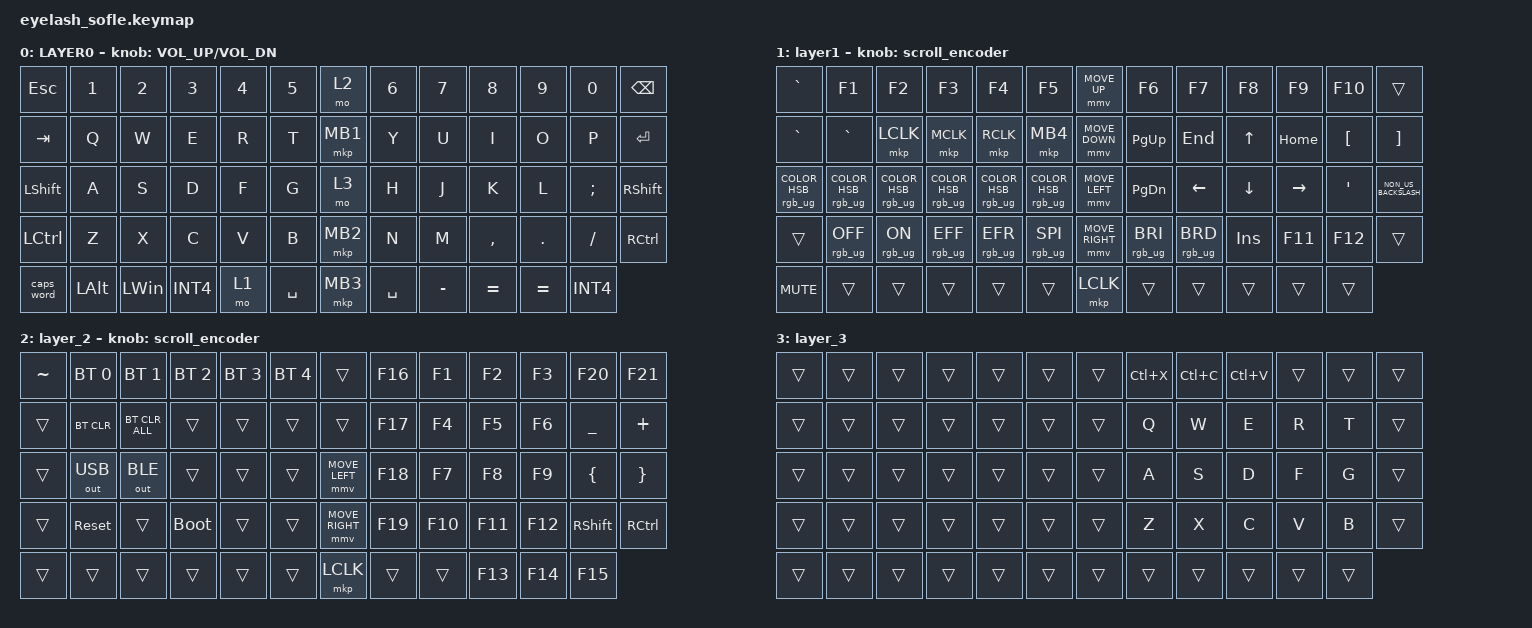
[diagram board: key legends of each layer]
#include <dt-bindings/zmk/mouse.h>
#include <input/processors.dtsi>
#include <behaviors.dtsi>
#include <dt-bindings/zmk/bt.h>
#include <dt-bindings/zmk/keys.h>
#include <dt-bindings/zmk/outputs.h>
#include <dt-bindings/zmk/pointing.h>
#include <dt-bindings/zmk/pointing.h>
#include <dt-bindings/zmk/pointing.h>
#include <dt-bindings/zmk/rgb.h>

/*

   &mmv_input_listener {
       input-processors = <&zip_xy_scaler 2 1>;
   };

   &msc_input_listener {
       input-processors = <&zip_xy_scaler 2 1>;
   };

 */

#define ZMK_MOUSE_DEFAULT_MOVE_VAL 1200  // 600
#define ZMK_MOUSE_DEFAULT_SCRL_VAL 20    // 10

/ {
    behaviors {
        mmv {
            acceleration-exponent = <1>;      // 1
            time-to-max-speed-ms = <900>;    // 40
            delay-ms = <0>;                   // 0
        };

        msc {
            acceleration-exponent = <1>;      // 0
            time-to-max-speed-ms = <400>;      // 500
            delay-ms = <0>;                   //   10
        };
    };

    scroll_encoder: scroll_encoder {
        compatible = "zmk,behavior-sensor-rotate";
        #sensor-binding-cells = <0>;
        bindings = <&msc SCRL_DOWN>, <&msc SCRL_UP>;

        tap-ms = <30>;
    };

    keymap {
        compatible = "zmk,keymap";

        layer0 {
            bindings = <
&kp ESC         &kp N1        &kp N2        &kp N3    &kp N4  &kp N5       &mo 2     &kp N6     &kp N7     &kp N8     &kp N9      &kp N0         &kp BACKSPACE
&kp TAB         &kp Q         &kp W         &kp E     &kp R   &kp T        &mkp MB1  &kp Y      &kp U      &kp I      &kp O       &kp P          &kp ENTER
&kp LEFT_SHIFT  &kp A         &kp S         &kp D     &kp F   &kp G        &mo 3     &kp H      &kp J      &kp K      &kp L       &kp SEMICOLON  &kp RIGHT_SHIFT
&kp LCTRL       &kp Z         &kp X         &kp C     &kp V   &kp B        &mkp MB2  &kp N      &kp M      &kp COMMA  &kp PERIOD  &kp SLASH      &kp RIGHT_CONTROL
&caps_word      &kp LEFT_ALT  &kp LEFT_WIN  &kp INT4  &mo 1   &kp SPACE    &mkp MB3  &kp SPACE  &kp MINUS  &kp EQUAL  &kp EQUAL   &kp INT4
            >;

            sensor-bindings = <&inc_dec_kp C_VOLUME_UP C_VOL_DN>;
            display-name = "LAYER0";
        };

        layer_1 {
            bindings = <
&kp GRAVE                        &kp F1                            &kp F2                             &kp F3                             &kp F4                             &kp F5                               &mmv MOVE_UP     &kp F6           &kp F7           &kp F8      &kp F9     &kp F10           &trans
&kp GRAVE                        &kp GRAVE                         &mkp LCLK                          &mkp MCLK                          &mkp RCLK                          &mkp MB4                             &mmv MOVE_DOWN   &kp PG_UP        &kp END          &kp UP      &kp HOME   &kp LEFT_BRACKET  &kp RIGHT_BRACKET
&rgb_ug RGB_COLOR_HSB(0,100,50)  &rgb_ug RGB_COLOR_HSB(61,100,54)  &rgb_ug RGB_COLOR_HSB(119,100,50)  &rgb_ug RGB_COLOR_HSB(183,100,50)  &rgb_ug RGB_COLOR_HSB(245,100,50)  &rgb_ug RGB_COLOR_HSB(304,100,50)    &mmv MOVE_LEFT   &kp PG_DN        &kp LEFT         &kp DOWN    &kp RIGHT  &kp SQT           &kp NON_US_BACKSLASH
&trans                           &rgb_ug RGB_OFF                   &rgb_ug RGB_ON                     &rgb_ug RGB_EFF                    &rgb_ug RGB_EFR                    &rgb_ug RGB_SPI                      &mmv MOVE_RIGHT  &rgb_ug RGB_BRI  &rgb_ug RGB_BRD  &kp INSERT  &kp F11    &kp F12           &trans
&kp C_MUTE                       &trans                            &trans                             &trans                             &trans                             &trans                               &mkp LCLK        &trans           &trans           &trans      &trans     &trans
            >;

            display-name = "layer1";
            sensor-bindings = <&scroll_encoder>;
        };

        layer_2 {
            bindings = <
&kp TILDE  &bt BT_SEL 0  &bt BT_SEL 1    &bt BT_SEL 2  &bt BT_SEL 3  &bt BT_SEL 4    &trans           &kp F16  &kp F1   &kp F2   &kp F3   &kp F20     &kp F21
&trans     &bt BT_CLR    &bt BT_CLR_ALL  &trans        &trans        &trans          &trans           &kp F17  &kp F4   &kp F5   &kp F6   &kp UNDER   &kp PLUS
&trans     &out OUT_USB  &out OUT_BLE    &trans        &trans        &trans          &mmv MOVE_LEFT   &kp F18  &kp F7   &kp F8   &kp F9   &kp LBRC    &kp RBRC
&trans     &sys_reset    &trans          &bootloader   &trans        &trans          &mmv MOVE_RIGHT  &kp F19  &kp F10  &kp F11  &kp F12  &kp RSHIFT  &kp RCTRL
&trans     &trans        &trans          &trans        &trans        &trans          &mkp LCLK        &trans   &trans   &kp F13  &kp F14  &kp F15
            >;

            sensor-bindings = <&scroll_encoder>;
        };

        layer_3 {
            bindings = <
&trans  &trans  &trans  &trans  &trans  &trans    &trans  &kp LC(X)  &kp LC(C)  &kp LC(V)  &trans  &trans  &trans
&trans  &trans  &trans  &trans  &trans  &trans    &trans  &kp Q      &kp W      &kp E      &kp R   &kp T   &trans
&trans  &trans  &trans  &trans  &trans  &trans    &trans  &kp A      &kp S      &kp D      &kp F   &kp G   &trans
&trans  &trans  &trans  &trans  &trans  &trans    &trans  &kp Z      &kp X      &kp C      &kp V   &kp B   &trans
&trans  &trans  &trans  &trans  &trans  &trans    &trans  &trans     &trans     &trans     &trans  &trans
            >;
        };
    };
};
